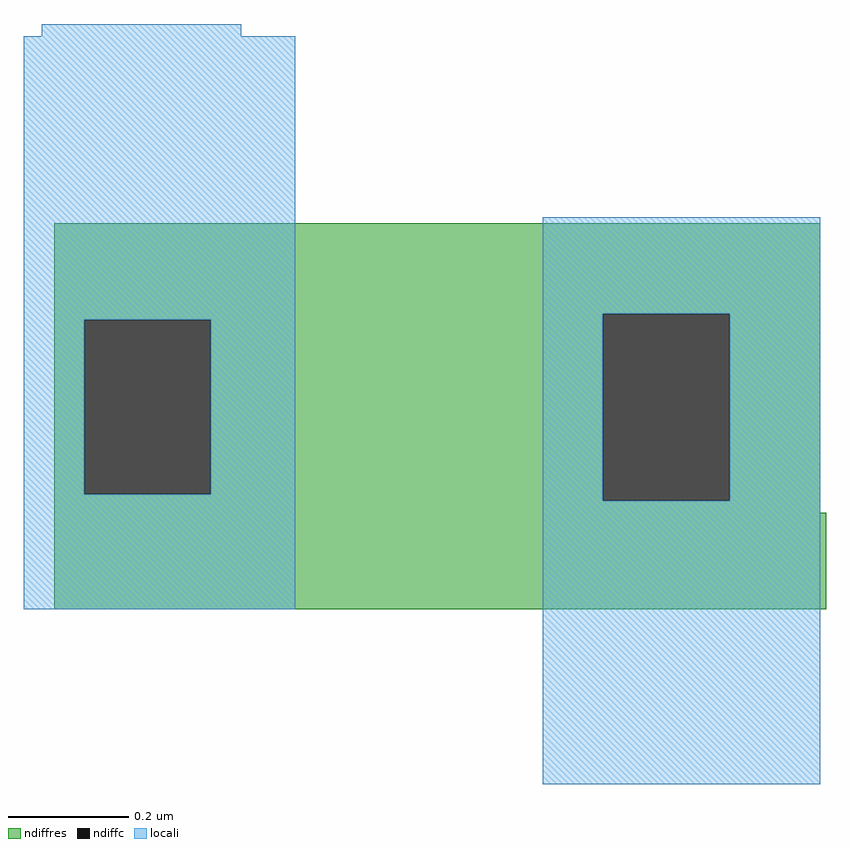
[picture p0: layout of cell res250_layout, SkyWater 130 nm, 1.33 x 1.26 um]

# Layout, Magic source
magic
tech sky130A
<< ndiffc >>
rect 119 -123 140 -94
rect 205 -124 226 -93
<< ndiffres >>
rect 114 -93 241 -78
rect 114 -94 205 -93
rect 114 -123 119 -94
rect 140 -123 205 -94
rect 114 -124 205 -123
rect 226 -124 241 -93
rect 114 -126 241 -124
rect 114 -142 242 -126
<< locali >>
rect 112 -47 145 -45
rect 109 -94 154 -47
rect 109 -123 119 -94
rect 140 -123 154 -94
rect 109 -142 154 -123
rect 195 -93 241 -77
rect 195 -124 205 -93
rect 226 -124 241 -93
rect 195 -171 241 -124
<< end >>
